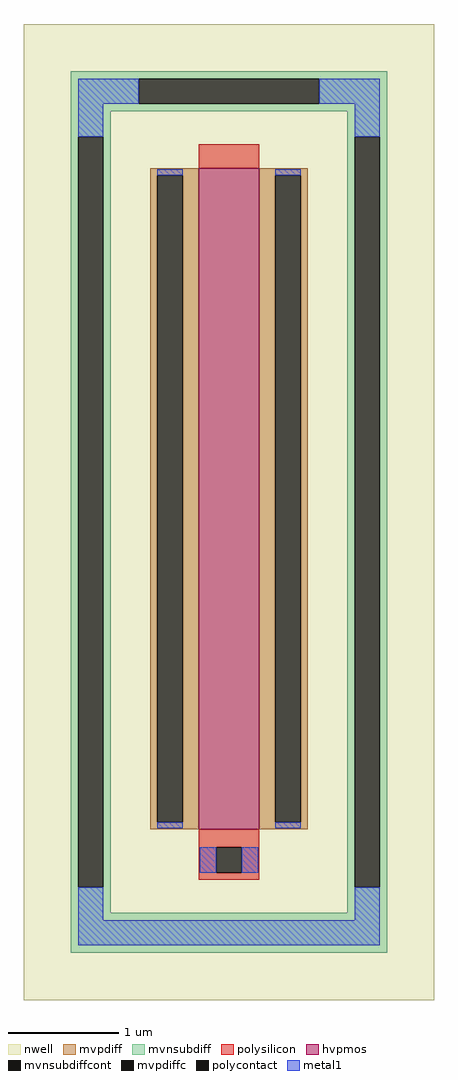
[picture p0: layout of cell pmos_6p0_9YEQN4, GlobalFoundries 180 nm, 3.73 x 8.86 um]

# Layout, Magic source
magic
tech gf180mcuD
magscale 1 10
<< nwell >>
rect -378 -886 368 886
<< hvpmos >>
rect -60 -576 50 624
<< mvpdiff >>
rect -148 611 -60 624
rect -148 -563 -135 611
rect -89 -563 -60 611
rect -148 -576 -60 -563
rect 50 611 138 624
rect 50 -563 79 611
rect 125 -563 138 611
rect 50 -576 138 -563
<< mvpdiffc >>
rect -135 -563 -89 611
rect 79 -563 125 611
<< mvnsubdiff >>
rect -292 787 282 800
rect -292 741 -169 787
rect 159 741 282 787
rect -292 728 282 741
rect -292 681 -220 728
rect -292 -681 -279 681
rect -233 -681 -220 681
rect 210 681 282 728
rect -292 -728 -220 -681
rect 210 -681 223 681
rect 269 -681 282 681
rect 210 -728 282 -681
rect -292 -800 282 -728
<< mvnsubdiffcont >>
rect -169 741 159 787
rect -279 -681 -233 681
rect 223 -681 269 681
<< polysilicon >>
rect -60 624 50 668
rect -60 -609 50 -576
rect -60 -655 -28 -609
rect 18 -655 50 -609
rect -60 -668 50 -655
<< polycontact >>
rect -28 -655 18 -609
<< metal1 >>
rect -279 741 -169 787
rect 159 741 269 787
rect -279 681 -233 741
rect 223 681 269 741
rect -135 611 -89 622
rect -135 -574 -89 -563
rect 79 611 125 622
rect 79 -574 125 -563
rect -58 -655 -28 -609
rect 18 -655 48 -609
rect -279 -741 -233 -681
rect 223 -741 269 -681
rect -279 -787 269 -741
<< properties >>
string FIXED_BBOX -246 -764 246 764
string GDS_END 38888
string GDS_FILE ../gds/simple_por.gds.gz
string GDS_START 33188
<< end >>
